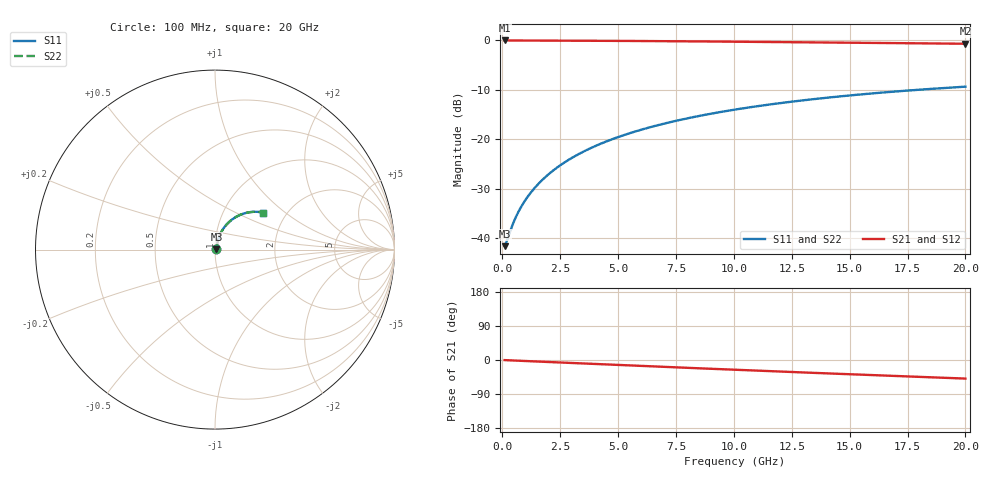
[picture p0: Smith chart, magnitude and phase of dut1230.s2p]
! Touchstone file exported from HFSS 2026.1.0
!  File:  C:/ffzhzh/LocalFiles/Ansys_Project_Files/temp_train_TMRDL_1230_1783163457_55132.aedt
!  Generated:  07:12:12 PM Jul  4, 2026
!  Design:  TMRDL
!  Project:  temp_train_TMRDL_1230_1783163457_55132
! Variables:
!  h_bsmrdl = 2um
!  h_ox = 20um
!  h_rdl = 5um
!  h_sub = 80um
!  h_tmrdl = 2.87um
!  h_tsv = 80um
!  h_via = 3um
!  l_bsmrdl = 300um
!  l_sub = 1218.48um
!  l_tmrdl = 818.48um
!  m_sub = 200um
!  pitch = 23.05um
!  r_tsv = 6um
!  s_tmrdl = 10um
!  w_bsmrdl = 18um
!  w_sub = 500um
!  w_tmrdl = 12.71um
!  x_tsv_center1 = 824.835um
!  x_tsv_center2 = 1142.835um
!  x_tsv_center3 = 1974.025um
!  x_tsv_center4 = 2292.025um
!  x_tsv_center5 = 3123.215um
!  x_tsv_center6 = 3441.215um
# GHz S MA R 50.000000
! Terminal data exported
! Port[1] = TM_RDL1_1_T1
! Port[2] = TM_RDL1_1_T2
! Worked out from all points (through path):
!   200 points, 100 MHz to 20 GHz, reference 50 ohm
!   highest |S21| = -0.07 dB at 100 MHz (marker M1); lowest = -0.7 dB at 20 GHz (marker M2)
!   group delay of S21, straight-line fit = 6.81 ps
!   lowest |S11| = -41.6 dB at 100 MHz (marker M3), VSWR 1.02, Z = 50.8 + j0.249 ohm
!   |S11| at or under -10 dB: start of sweep to 18.04 GHz
!   |S22| runs from -41.6 to -9.4 dB; largest |S21 - S12| = 2.7e-15
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0.1  0.008322 17.1  0.9921 -0.3  0.9921 -0.3  0.008322 17.1
! Gamma 0 0 0 0
! Port Impedance 50 0 50 0
0.2  0.009472 30.8  0.9919 -0.6  0.9919 -0.6  0.009472 30.8
0.4  0.01284 47.2  0.9914 -1.1  0.9914 -1.1  0.01284 47.2
0.5  0.01472 52.0  0.9911 -1.4  0.9911 -1.4  0.01472 52.0
0.7  0.01856 58.4  0.9907 -1.9  0.9907 -1.9  0.01856 58.4
1  0.02438 63.9  0.9901 -2.7  0.9901 -2.7  0.02438 63.9
1.3  0.03028 67.3  0.9896 -3.5  0.9896 -3.5  0.03028 67.3
1.5  0.03425 68.8  0.9893 -4.0  0.9893 -4.0  0.03425 68.8
1.8  0.04027 70.4  0.9889 -4.8  0.9889 -4.8  0.04027 70.4
2.3  0.0504 71.8  0.9882 -6.1  0.9882 -6.1  0.0504 71.8
2.9  0.06262 72.3  0.9872 -7.6  0.9872 -7.6  0.06262 72.3
3.5  0.07483 72.2  0.986 -9.2  0.986 -9.2  0.07484 72.2
4.2  0.08899 71.5  0.9844 -11.0  0.9844 -11.0  0.089 71.5
5  0.105 70.3  0.9823 -13.1  0.9823 -13.1  0.105 70.3
5.9  0.1227 68.6  0.9796 -15.4  0.9796 -15.4  0.1227 68.6
6.8  0.14 66.8  0.9766 -17.6  0.9766 -17.6  0.1401 66.8
8.3  0.168 63.5  0.971 -21.4  0.971 -21.4  0.168 63.5
10.1  0.1998 59.5  0.9636 -25.9  0.9636 -25.9  0.1998 59.5
11.7  0.2265 55.9  0.9566 -29.8  0.9566 -29.8  0.2265 55.8
13.4  0.253 52.0  0.9489 -33.8  0.9489 -33.8  0.2531 52.0
16.7  0.2994 44.7  0.9337 -41.5  0.9337 -41.5  0.2995 44.6
20  0.3388 37.5  0.9191 -49.0  0.9191 -49.0  0.339 37.5
